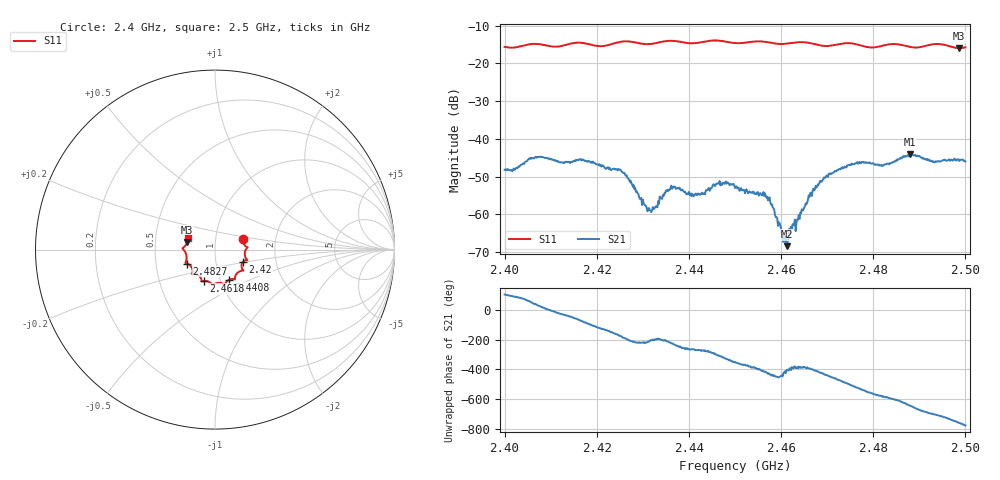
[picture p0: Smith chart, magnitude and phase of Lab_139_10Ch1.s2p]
# Hz S RI R 50
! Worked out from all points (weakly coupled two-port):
!   601 points, 2.4 GHz to 2.5 GHz, reference 50 ohm
!   highest |S21| = -44.01 dB at 2.488 GHz (marker M1); lowest = -68.4 dB at 2.4613 GHz (marker M2)
!   lowest |S11| = -15.9 dB at 2.4987 GHz (marker M3), VSWR 1.38, Z = 36.5 + j3.24 ohm
!   |S11| at or under -10 dB: start of sweep to end of sweep
!   S12 and S22 are empty: the file has one direction only
!   S11 on the Smith chart (normalised r, x): 2.4 GHz: 1.35, +0.17; 2.42 GHz: 1.35, -0.19; 2.4408 GHz: 1.10, -0.38; 2.4618 GHz: 0.83, -0.30; 2.4827 GHz: 0.72, -0.12; 2.5 GHz: 0.73, +0.10
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2.4e9  0.1546 0.0612  -0.00102 0.00376  0 0  0 0
2.407167e9  0.1812 0.0119  0.00491 0.00306  0 0  0 0
2.416667e9  0.179 -0.0586  0.00146 -0.00498  0 0  0 0
2.42e9  0.1564 -0.069  -0.00184 -0.0042  0 0  0 0
2.4255e9  0.1573 -0.1158  -0.00365 6.39e-05  0 0  0 0
2.431333e9  0.1214 -0.1338  -0.00104 0.00062  0 0  0 0
2.433333e9  0.1115 -0.1531  -0.00144 0.000399  0 0  0 0
2.4365e9  0.1108 -0.166  -0.00153 0.00164  0 0  0 0
2.440833e9  0.0777 -0.1684  -0.000172 0.00177  0 0  0 0
2.446167e9  0.0521 -0.1948  0.00143 0.00211  0 0  0 0
2.45e9  0.0266 -0.1848  0.0022 0.000377  0 0  0 0
2.457e9  -0.0174 -0.1913  0.000736 -0.00155  0 0  0 0
2.4605e9  -0.0477 -0.1753  0.000187 -0.000387  0 0  0 0
2.461333e9  -0.0567 -0.1745  0.000283 -0.000251  0 0  0 0
2.461833e9  -0.0616 -0.1749  0.000536 -0.000365  0 0  0 0
2.466667e9  -0.0758 -0.1682  0.00138 -0.00109  0 0  0 0
2.474833e9  -0.1269 -0.1361  -0.00353 -0.00281  0 0  0 0
2.482667e9  -0.158 -0.0776  -0.00303 0.00349  0 0  0 0
2.483333e9  -0.1618 -0.0767  -0.00282 0.00378  0 0  0 0
2.488e9  -0.1583 -0.0492  0.00171 0.00607  0 0  0 0
2.498667e9  -0.154 0.0432  0.00383 -0.00335  0 0  0 0
2.5e9  -0.1509 0.0633  0.00262 -0.00428  0 0  0 0
